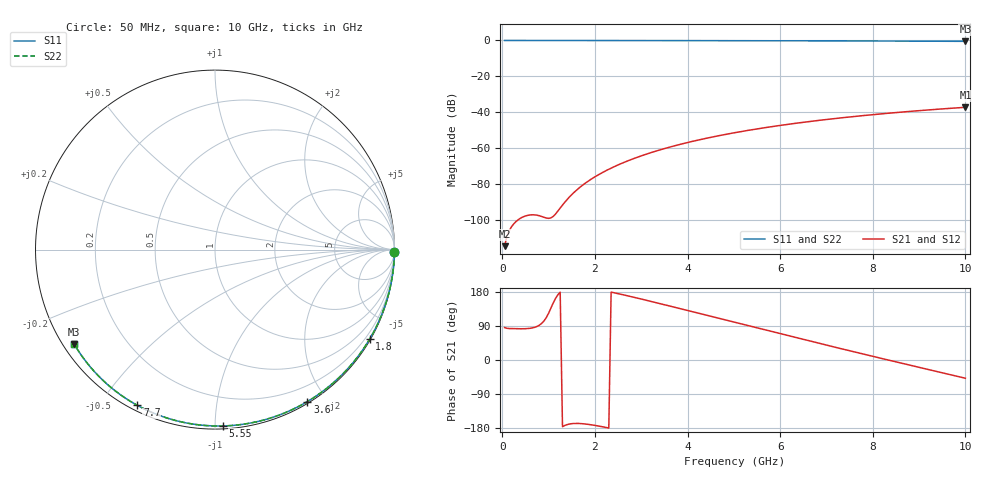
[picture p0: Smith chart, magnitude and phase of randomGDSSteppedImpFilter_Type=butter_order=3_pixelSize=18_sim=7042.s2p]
! freq	dB(S11)	phase(S11)	dB(S12)	phase(S12)
!  dB(S21)	phase(S21)	dB(S22)	phase(S22)
!S-par simulation data
#  GHz  S  DB  R 50
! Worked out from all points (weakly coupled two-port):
!   200 points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, 50 MHz to 10 GHz, reference 50 ohm
!   highest |S21| = -37.30 dB at 10 GHz (marker M1); lowest = -114.8 dB at 50 MHz (marker M2)
!   lowest |S11| = -0.5 dB at 10 GHz (marker M3), VSWR 35.19, Z = 1.55 - j15.2 ohm
!   |S11| at or under -10 dB: nowhere
!   |S22| runs from -0.5 to 0.0 dB; largest |S21 - S12| = 0
!   S11 on the Smith chart (normalised r, x): 50 MHz: open; 1.8 GHz: 0.03, -3.72; 3.6 GHz: 0.02, -1.78; 5.55 GHz: 0.02, -1.05; 7.7 GHz: 0.02, -0.62; 10 GHz: 0.03, -0.30
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0.05  -0.00 -0.9  -114.82 85.5  -114.82 85.5  -0.00 -0.9
0.45  -0.01 -7.6  -98.45 82.4  -98.45 82.4  -0.01 -7.6
0.9  -0.02 -15.2  -98.68 103.1  -98.68 103.1  -0.02 -15.2
1.3  -0.03 -21.9  -91.87 -176.1  -91.87 -176.1  -0.03 -21.9
1.75  -0.04 -29.3  -80.47 -168.3  -80.47 -168.3  -0.04 -29.3
1.8  -0.04 -30.1  -79.51 -169.0  -79.51 -169.0  -0.04 -30.1
1.95  -0.04 -32.6  -76.91 -171.5  -76.91 -171.5  -0.04 -32.6
2.1  -0.04 -35.0  -74.62 -174.7  -74.62 -174.7  -0.04 -35.0
2.3  -0.05 -38.2  -71.89 -179.5  -71.89 -179.5  -0.05 -38.2
2.5  -0.05 -41.4  -69.47 175.2  -69.47 175.2  -0.05 -41.4
2.9  -0.06 -47.8  -65.34 163.8  -65.34 163.8  -0.06 -47.8
3.4  -0.07 -55.6  -61.11 148.9  -61.11 148.9  -0.07 -55.6
3.6  -0.08 -58.7  -59.63 142.9  -59.63 142.9  -0.08 -58.7
4.3  -0.10 -69.3  -55.18 121.4  -55.18 121.4  -0.10 -69.3
5.05  -0.12 -80.3  -51.34 98.4  -51.34 98.4  -0.12 -80.3
5.55  -0.14 -87.4  -49.17 83.1  -49.17 83.1  -0.14 -87.4
6.1  -0.17 -95.1  -47.06 66.3  -47.06 66.3  -0.17 -95.1
6.7  -0.20 -103.2  -45.04 48.2  -45.04 48.2  -0.20 -103.2
7.7  -0.27 -116.5  -42.17 18.5  -42.17 18.5  -0.27 -116.5
8.35  -0.32 -125.0  -40.59 -0.6  -40.59 -0.6  -0.32 -125.0
9.2  -0.40 -135.9  -38.77 -25.1  -38.77 -25.1  -0.40 -135.9
10  -0.49 -146.2  -37.30 -48.1  -37.30 -48.1  -0.49 -146.2
